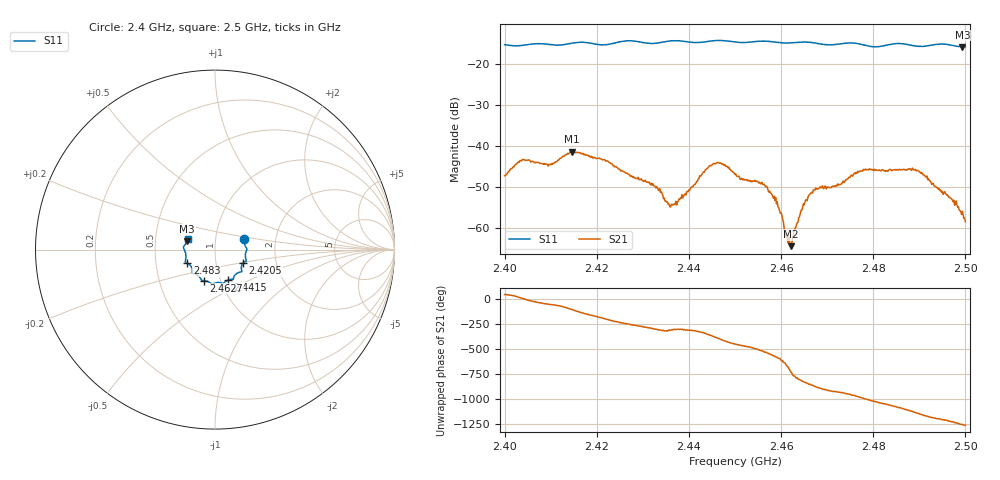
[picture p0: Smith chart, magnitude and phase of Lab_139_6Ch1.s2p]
# Hz S RI R 50
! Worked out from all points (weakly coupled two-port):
!   601 points, 2.4 GHz to 2.5 GHz, reference 50 ohm
!   highest |S21| = -41.44 dB at 2.4147 GHz (marker M1); lowest = -64.6 dB at 2.4622 GHz (marker M2)
!   lowest |S11| = -15.8 dB at 2.4993 GHz (marker M3), VSWR 1.39, Z = 36.4 + j3.63 ohm
!   |S11| at or under -10 dB: start of sweep to end of sweep
!   S12 and S22 are empty: the file has one direction only
!   S11 on the Smith chart (normalised r, x): 2.4 GHz: 1.38, +0.16; 2.4205 GHz: 1.35, -0.21; 2.4415 GHz: 1.09, -0.38; 2.4627 GHz: 0.84, -0.30; 2.483 GHz: 0.73, -0.11; 2.5 GHz: 0.73, +0.09
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2.4e9  0.1635 0.0573  0.00316 0.00292  0 0  0 0
2.403833e9  0.1688 0.0196  0.00679 0.00048  0 0  0 0
2.409833e9  0.1733 -0.00932  0.00329 -0.00493  0 0  0 0
2.414667e9  0.1726 -0.0551  -0.0026 -0.00807  0 0  0 0
2.416667e9  0.1744 -0.0634  -0.00589 -0.0054  0 0  0 0
2.4205e9  0.156 -0.0756  -0.00704 0.000586  0 0  0 0
2.433333e9  0.1073 -0.1471  0.00186 0.00222  0 0  0 0
2.436333e9  0.1024 -0.1642  0.00112 0.00156  0 0  0 0
2.4415e9  0.0735 -0.1687  0.00269 0.00222  0 0  0 0
2.445833e9  0.0481 -0.1886  0.00555 -0.0025  0 0  0 0
2.45e9  0.0301 -0.1844  -0.000124 -0.00447  0 0  0 0
2.456667e9  -0.0176 -0.1905  -0.00313 -0.000456  0 0  0 0
2.459e9  -0.0305 -0.1829  -0.00146 0.0013  0 0  0 0
2.462167e9  -0.0571 -0.1733  0.000575 -0.000139  0 0  0 0
2.462667e9  -0.0611 -0.173  0.000564 -0.000607  0 0  0 0
2.466667e9  -0.0767 -0.1673  -0.0021 -0.00169  0 0  0 0
2.4775e9  -0.1262 -0.1203  -0.000215 0.00492  0 0  0 0
2.483e9  -0.1542 -0.0754  0.00446 0.00223  0 0  0 0
2.483333e9  -0.1566 -0.0741  0.00466 0.00189  0 0  0 0
2.49e9  -0.1623 -0.0301  0.00199 -0.00438  0 0  0 0
2.499333e9  -0.1554 0.0485  -0.00157 -0.000197  0 0  0 0
2.5e9  -0.153 0.0573  -0.00118 -1.4e-05  0 0  0 0
